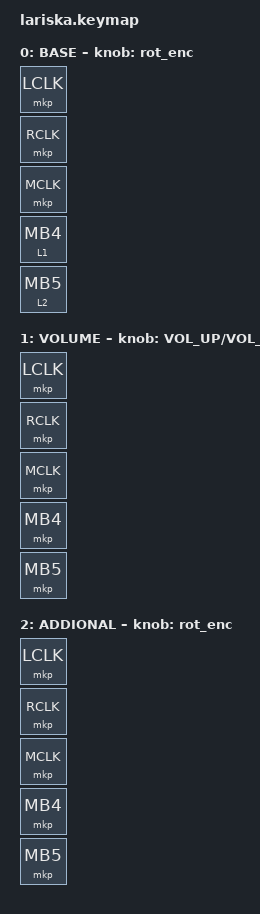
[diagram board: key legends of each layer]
#include <behaviors.dtsi>
#include <dt-bindings/zmk/bt.h>
#include <dt-bindings/zmk/keys.h>
#include <dt-bindings/zmk/outputs.h>
#include <dt-bindings/zmk/pointing.h>

/*
 * 报告率限速处理器（zip_report_rate_limit）的节点定义现在放在 lariska.overlay 里，
 * 因为 ESB 版本下它挂在 &mou0_split 上（peripheral 侧先限速再上报）。
 * 原来这里的 `&zip_report_rate_limit { limit-ble-only; }` 也一起去掉了：
 * BLE 已关闭，限速应当在 ESB 上同样生效。
 */

#define U_TAPPING_TERM 220
#define U_QUICK_TAP 200

#define BASE 0
#define VOLUME 1
#define ADDIONAL 2

/ {

    behaviors {
        u_lt_mouse: u_lt_mouse {
            compatible = "zmk,behavior-hold-tap";
            #binding-cells = <2>;
            tapping-term-ms = <U_TAPPING_TERM>;
            quick-tap-ms = <U_QUICK_TAP>;
            flavor = "tap-preferred";
            bindings = <&mo>, <&mkp>;
        };

        ec_s: mouse_scroll {
            compatible = "zmk,behavior-input-two-axis";
            #binding-cells = <1>;
            trigger-period-ms = <3>;
            x-input-code = <INPUT_REL_HWHEEL>;
            y-input-code = <INPUT_REL_WHEEL>;
            time-to-max-speed-ms = <100>;
            acceleration-exponent = <0>;
        };

        rot_enc: sensor_rotate {
            compatible = "zmk,behavior-sensor-rotate";
            #sensor-binding-cells = <0>;
            bindings = <&ec_s MOVE_Y(-37)>, <&ec_s MOVE_Y(10)>;
            tap-ms = <65>;
        };
    };

    /*
     * 这是 central 角色的用法：会把 &mou0 的事件本地消费掉（不再发出）。
     * ESB 版本里指针/按键都通过 lariska.overlay 里的 mou0_split(reg=4) /
     * mbtn_split(reg=5) 上报给 dongle，所以这里要禁用；
     * 限速处理器节点（zip_report_rate_limit）已经改挂在 &mou0_split 上。
     */
    mou0_mmv_il {
        compatible = "zmk,input-listener";
        status = "disabled";
        device = <&mou0>;
    };

    keymap {
        compatible = "zmk,keymap";

        BASE {
            bindings = <
                &mkp LCLK
                &mkp RCLK
                &mkp MCLK
                &u_lt_mouse 1 MB4
                &u_lt_mouse 2 MB5
            >;
            sensor-bindings = <&rot_enc>;
        };

        VOLUME {
            bindings = <
                &mkp LCLK
                &mkp RCLK
                &mkp MCLK
                &mkp MB4
                &mkp MB5
            >;
            sensor-bindings = <&inc_dec_kp C_VOL_UP C_VOL_DN>;
        };

        ADDIONAL {
            bindings = <
                &mkp LCLK
                &mkp RCLK
                &mkp MCLK
                &mkp MB4
                &mkp MB5
            >;
            sensor-bindings = <&rot_enc>;
        };

    };
};
